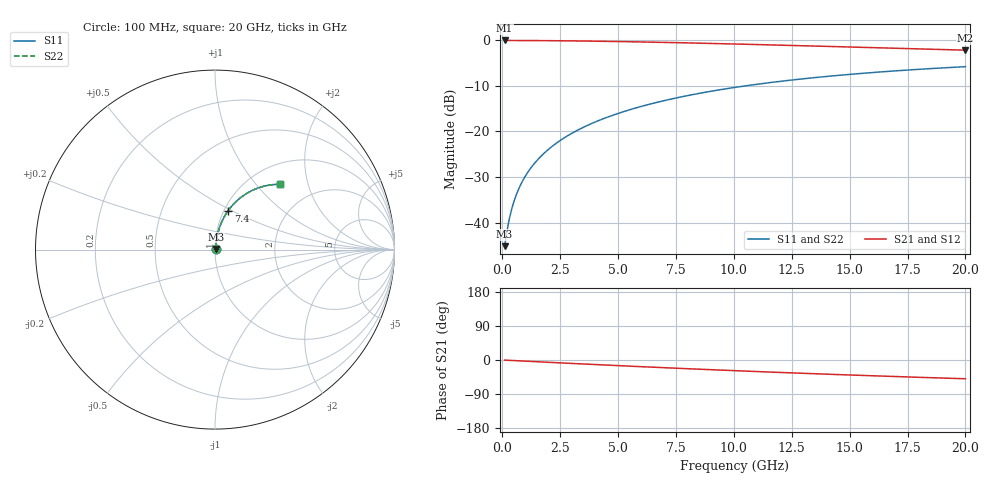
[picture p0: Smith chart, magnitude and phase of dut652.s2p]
! Touchstone file exported from HFSS 2024.1.0
!  File:  C:/UserFiles/LocalFiles/RDL_TSV_Batchsim/temp_RDL_top_652_1779781401.aedt
!  Generated:  03:45:38 PM May 26, 2026
!  Design:  RDL_top
!  Project:  temp_RDL_top_652_1779781401
!  Setup:  Setup1
!  Solution:  Sweep
! Variables:
!  dtsv = 10.80580581um
!  hbump = 3um
!  htsv = 60.77um
!  ldown = 100um
!  lrdl = 656.9um
!  p = 40
!  p1 = 54.93um
!  rhole = 1um
!  t = 450um
!  tdown = 3.915915916um
!  trdl = 3.68um
!  wdown = 15.38538539um
!  wrdl = 14.63um
# GHz S MA R 50.000000
! Terminal data exported
! Port[1] = Box2_T1
! Port[2] = Box2_T2
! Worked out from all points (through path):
!   200 points, 100 MHz to 20 GHz, reference 50 ohm
!   highest |S21| = -0.04 dB at 100 MHz (marker M1); lowest = -2.2 dB at 20 GHz (marker M2)
!   group delay of S21, straight-line fit = 6.87 ps
!   lowest |S11| = -45.2 dB at 100 MHz (marker M3), VSWR 1.01, Z = 50.4 + j0.335 ohm
!   |S11| at or under -10 dB: start of sweep to 10.5 GHz
!   |S22| runs from -45.2 to -5.8 dB; largest |S21 - S12| = 1.4e-14
!   S11 on the Smith chart (normalised r, x): 100 MHz: 1.01, +0.01; 7.4 GHz: 1.05, +0.48; 20 GHz: 1.37, +1.35
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0.1  0.005518 37.0  0.9956 -0.3  0.9956 -0.3  0.005518 37.0
! Gamma 0 0 0 0
! Port Impedance 50 0 50 0
0.2  0.008011 55.5  0.9955 -0.6  0.9955 -0.6  0.008011 55.5
0.3  0.01091 64.5  0.9953 -0.9  0.9953 -0.9  0.01091 64.5
0.4  0.01392 69.4  0.9951 -1.2  0.9951 -1.2  0.01392 69.4
0.5  0.01698 72.5  0.9949 -1.5  0.9949 -1.5  0.01698 72.5
0.6  0.02006 74.6  0.9947 -1.9  0.9947 -1.9  0.02006 74.6
0.8  0.02625 77.3  0.9943 -2.5  0.9943 -2.5  0.02625 77.3
1.1  0.0356 79.3  0.9936 -3.4  0.9936 -3.4  0.0356 79.3
1.5  0.04813 80.4  0.9923 -4.6  0.9923 -4.6  0.04813 80.4
1.8  0.05757 80.7  0.9912 -5.5  0.9912 -5.5  0.05757 80.7
2.1  0.06701 80.7  0.9899 -6.4  0.9899 -6.4  0.06701 80.7
2.7  0.08589 80.3  0.9867 -8.2  0.9867 -8.2  0.08589 80.3
3.5  0.111 79.2  0.9815 -10.5  0.9815 -10.5  0.111 79.2
4.2  0.1329 78.0  0.9761 -12.6  0.9761 -12.6  0.1329 78.0
5  0.1576 76.4  0.969 -14.8  0.969 -14.8  0.1576 76.4
6.8  0.2122 72.6  0.9503 -19.8  0.9503 -19.8  0.2122 72.6
7.4  0.2299 71.3  0.9435 -21.4  0.9435 -21.4  0.2299 71.3
8.7  0.2672 68.3  0.9277 -24.8  0.9277 -24.8  0.2673 68.4
10.1  0.3056 65.2  0.9098 -28.3  0.9098 -28.3  0.3057 65.2
13.4  0.3876 58.0  0.8657 -36.1  0.8657 -36.1  0.3876 58.0
16.7  0.4567 51.3  0.8214 -43.1  0.8214 -43.1  0.4568 51.3
20  0.5135 45.1  0.7789 -49.5  0.7789 -49.5  0.5136 45.1
